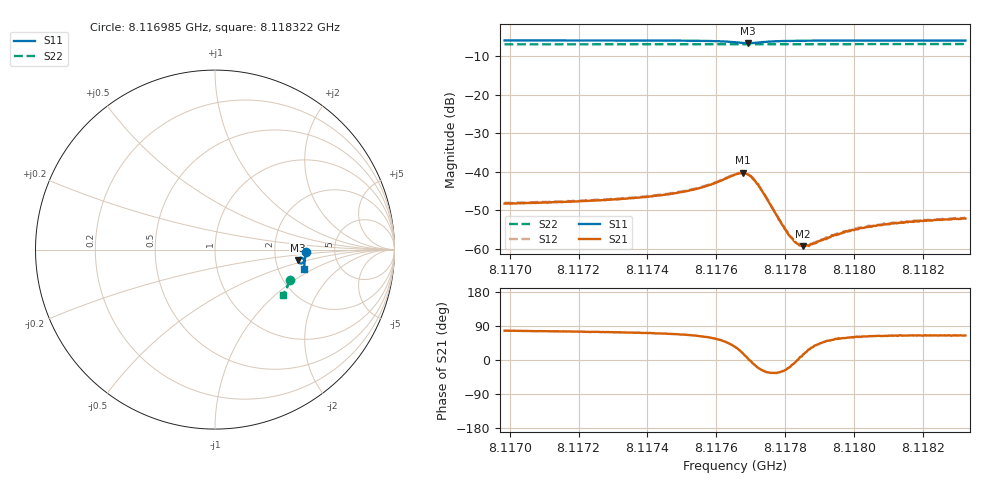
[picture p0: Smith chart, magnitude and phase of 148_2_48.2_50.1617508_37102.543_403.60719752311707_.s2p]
#  HZ  S  RI  R  50.00
! Rohde & Schwarz Vector Network Analyzer
! Rohde-Schwarz,ZNB20-2Port,1311601062101988,3.16
! Created: UTC 3/20/2024, 11:42:42 AM
! freq[Hz]  re:S11  im:S11  re:S21  im:S21  re:S12  im:S12  re:S22  im:S22
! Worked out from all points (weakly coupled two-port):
!   401 points, 8.116985 GHz to 8.118322 GHz, reference 50 ohm
!   highest |S21| = -40.29 dB at 8.117677 GHz (marker M1); lowest = -59.4 dB at 8.117851 GHz (marker M2)
!   lowest |S11| = -6.6 dB at 8.117691 GHz (marker M3), VSWR 2.75, Z = 134 - j20.6 ohm
!   |S11| at or under -10 dB: nowhere
!   |S22| runs from -6.9 to -6.8 dB; largest |S21 - S12| = 0.00027
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8.1169854e9  0.5059 -0.0159  0.000838 0.00374  0.000894 0.00381  0.418 -0.1685
8.1172093e9  0.5046 -0.0339  0.00108 0.00399  0.00115 0.00404  0.4124 -0.1832
8.1173598e9  0.5028 -0.0467  0.0014 0.00429  0.00141 0.00434  0.4085 -0.1928
8.1174333e9  0.5015 -0.0535  0.00165 0.0046  0.00172 0.00468  0.4062 -0.1977
8.1175001e9  0.4993 -0.0607  0.0021 0.005  0.00215 0.00509  0.4044 -0.202
8.1175469e9  0.4965 -0.0664  0.0027 0.00538  0.00283 0.0055  0.4028 -0.2052
8.1175904e9  0.4917 -0.0724  0.00372 0.00585  0.00384 0.00591  0.4016 -0.2077
8.1176539e9  0.4736 -0.0767  0.00751 0.00522  0.00768 0.00519  0.3988 -0.2117
8.1176773e9  0.4642 -0.0684  0.00924 0.00285  0.00932 0.00276  0.3978 -0.2125
8.1176907e9  0.4626 -0.0601  0.00915 0.000749  0.00931 0.000671  0.3975 -0.2129
8.1177074e9  0.4668 -0.0505  0.00783 -0.00142  0.00798 -0.00153  0.3973 -0.2137
8.1177274e9  0.4766 -0.0454  0.00551 -0.00248  0.00558 -0.00258  0.3971 -0.2147
8.1178076e9  0.496 -0.0573  0.00144 -0.000565  0.00148 -0.000624  0.3955 -0.2204
8.117831e9  0.4973 -0.0611  0.00118 -8.48e-05  0.00119 -7.16e-05  0.3949 -0.2217
8.1178444e9  0.4978 -0.063  0.00109 0.000168  0.0011 0.000136  0.3945 -0.2227
8.1178511e9  0.4979 -0.064  0.00104 0.000263  0.00106 0.000269  0.3941 -0.2231
8.1178778e9  0.4984 -0.0674  0.000964 0.000631  0.000963 0.000593  0.3933 -0.225
8.117938e9  0.4985 -0.0744  0.000866 0.00118  0.000863 0.00117  0.3913 -0.2287
8.1179948e9  0.4981 -0.08  0.000868 0.00153  0.000887 0.00156  0.3894 -0.2322
8.1181018e9  0.4968 -0.0896  0.000896 0.00186  0.000927 0.00189  0.3859 -0.239
8.1181787e9  0.4957 -0.0959  0.000955 0.00204  0.000991 0.00205  0.3832 -0.2437
8.1183224e9  0.4934 -0.1072  0.00104 0.00221  0.00109 0.00227  0.3782 -0.2524
